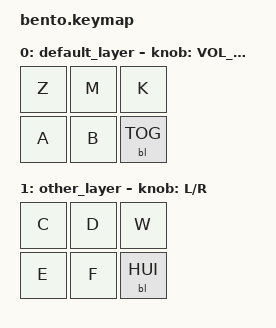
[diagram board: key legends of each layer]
#include <behaviors.dtsi>
#include <dt-bindings/zmk/keys.h>
#include <dt-bindings/zmk/rgb.h>

/ {
    keymap {
        compatible = "zmk,keymap";

        default_layer { // Layer 0
            bindings = <
                &kp Z    &kp M    &kp K
                &kp A    &kp B    &bl RGB_TOG
            >;

            sensor-bindings = <&inc_dec_kp C_VOL_UP C_VOL_DN>;
        };

        other_layer { // Layer 0
            bindings = <
                &kp C    &kp D    &kp W
                &kp E    &kp F    &bl RGB_HUI
            >;

            sensor-bindings = <&inc_dec_kp L R>;
        };
    };

    combos {
        compatible = "zmk,combos";
        combo_bootloader {
            timeout-ms = <50>;
            key-positions = <0 1>;
            bindings = <&bootloader>;
        };
    };
 };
